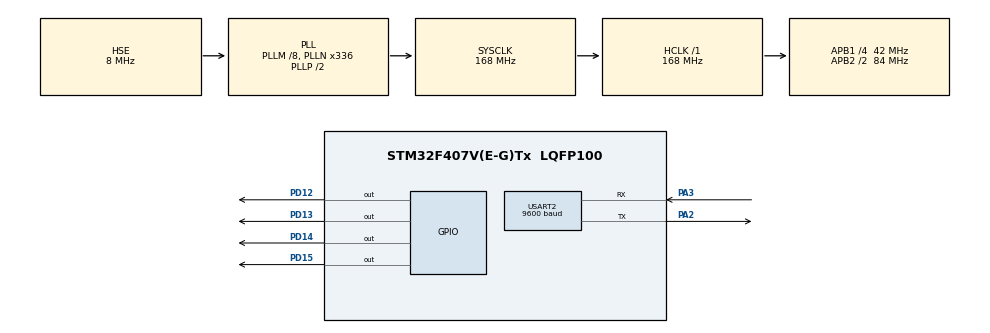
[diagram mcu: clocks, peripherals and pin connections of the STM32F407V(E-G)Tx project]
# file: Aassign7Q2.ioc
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Mcu.Family=STM32F4
Mcu.Name=STM32F407V(E-G)Tx
Mcu.Package=LQFP100
NVIC.PriorityGroup=NVIC_PRIORITYGROUP_0
PA2.Mode=Asynchronous
PA2.Signal=USART2_TX
PA3.Mode=Asynchronous
PA3.Signal=USART2_RX
PD12.Signal=GPIO_Output
PD13.Signal=GPIO_Output
PD14.Signal=GPIO_Output
PD15.Signal=GPIO_Output
ProjectManager.HeapSize=0x200
ProjectManager.StackSize=0x400
ProjectManager.TargetToolchain=STM32CubeIDE
RCC.48MHZClocksFreq_Value=48000000
RCC.AHBFreq_Value=168000000
RCC.APB1CLKDivider=RCC_HCLK_DIV4
RCC.APB1Freq_Value=42000000
RCC.APB1TimFreq_Value=84000000
RCC.APB2CLKDivider=RCC_HCLK_DIV2
RCC.APB2Freq_Value=84000000
RCC.APB2TimFreq_Value=168000000
RCC.CortexFreq_Value=168000000
RCC.HCLKFreq_Value=168000000
RCC.HSE_VALUE=8000000
RCC.HSI_VALUE=16000000
RCC.PLLM=8
RCC.PLLN=336
RCC.PLLQ=7
RCC.PLLSourceVirtual=RCC_PLLSOURCE_HSE
RCC.SYSCLKFreq_VALUE=168000000
RCC.SYSCLKSource=RCC_SYSCLKSOURCE_PLLCLK
RCC.VCOOutputFreq_Value=336000000
USART2.BaudRate=9600
USART2.VirtualMode=VM_ASYNC
board=STM32F407G-DISC1

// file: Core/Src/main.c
/* USER CODE BEGIN Header */
/**
  ******************************************************************************
  * @file           : main.c
  * @brief          : Main program body
  ******************************************************************************
  * @attention
  *
  * Copyright (c) 2025 STMicroelectronics.
  * All rights reserved.
  *
  * This software is licensed under terms that can be found in the LICENSE file
  * in the root directory of this software component.
  * If no LICENSE file comes with this software, it is provided AS-IS.
  *
  ******************************************************************************
  */
/* USER CODE END Header */
#include "main.h"
#include<string.h>
#define MAX_LEN 100
uint8_t rx_byte;             // single incoming byte
char rx_buffer[MAX_LEN];     // store full string
uint16_t rx_index = 0;       // current position
uint8_t on;

UART_HandleTypeDef huart2;

void SystemClock_Config(void);
static void MX_GPIO_Init(void);
static void MX_USART2_UART_Init(void);

int main(void)
{

  /* MCU Configuration--------------------------------------------------------*/

  /* Reset of all peripherals, Initializes the Flash interface and the Systick. */
  HAL_Init();

  /* Configure the system clock */
  SystemClock_Config();

  /* Initialize all configured peripherals */
  MX_GPIO_Init();
  MX_USART2_UART_Init();

  /* Infinite loop */
  while (1)
  {

    /* USER CODE BEGIN 3 */
	  HAL_UART_Receive(&huart2, &rx_byte, 1, HAL_MAX_DELAY);

	   HAL_UART_Transmit(&huart2, &rx_byte, 1, HAL_MAX_DELAY);

	        if (rx_byte == '\r')
	        {
	            rx_buffer[rx_index] = '\0';

	            char msg1[]="\n";
	            HAL_UART_Transmit(&huart2, (uint8_t*)msg1, strlen(msg1), HAL_MAX_DELAY);
	            {
	            if(strcmp(rx_buffer,"red_on")==0)
	            {
	          	  HAL_GPIO_TogglePin(GPIOD, GPIO_PIN_14);
	            }
	            else if(strcmp(rx_buffer,"orange_on")==0)
	            {
	          	  HAL_GPIO_TogglePin(GPIOD, GPIO_PIN_13);
	            }
	            else
	            {
	          	char msg2[]="INVALID COMMAND\n";
	              HAL_UART_Transmit(&huart2, (uint8_t*)msg2, strlen(msg2), HAL_MAX_DELAY);
	            }
	            }

	            strupr(rx_buffer);

	            rx_index = 0;
	        }
	        else
	        {

	            if (rx_index < MAX_LEN - 1)
	            {
	                rx_buffer[rx_index++] = rx_byte;
	            }
	        }
   }
  /* USER CODE END 3 */
}

void SystemClock_Config(void)
{
  RCC_OscInitTypeDef RCC_OscInitStruct = {0};
  RCC_ClkInitTypeDef RCC_ClkInitStruct = {0};

  /** Configure the main internal regulator output voltage
  */
  __HAL_RCC_PWR_CLK_ENABLE();
  __HAL_PWR_VOLTAGESCALING_CONFIG(PWR_REGULATOR_VOLTAGE_SCALE1);

  /** Initializes the RCC Oscillators according to the specified parameters
  * in the RCC_OscInitTypeDef structure.
  */
  RCC_OscInitStruct.OscillatorType = RCC_OSCILLATORTYPE_HSE;
  RCC_OscInitStruct.HSEState = RCC_HSE_OFF;
  RCC_OscInitStruct.PLL.PLLState = RCC_PLL_ON;
  RCC_OscInitStruct.PLL.PLLSource = RCC_PLLSOURCE_HSE;
  RCC_OscInitStruct.PLL.PLLM = 8;
  RCC_OscInitStruct.PLL.PLLN = 336;
  RCC_OscInitStruct.PLL.PLLP = RCC_PLLP_DIV2;
  RCC_OscInitStruct.PLL.PLLQ = 7;
  if (HAL_RCC_OscConfig(&RCC_OscInitStruct) != HAL_OK)
  {
    Error_Handler();
  }

  /** Initializes the CPU, AHB and APB buses clocks
  */
  RCC_ClkInitStruct.ClockType = RCC_CLOCKTYPE_HCLK|RCC_CLOCKTYPE_SYSCLK
                              |RCC_CLOCKTYPE_PCLK1|RCC_CLOCKTYPE_PCLK2;
  RCC_ClkInitStruct.SYSCLKSource = RCC_SYSCLKSOURCE_PLLCLK;
  RCC_ClkInitStruct.AHBCLKDivider = RCC_SYSCLK_DIV1;
  RCC_ClkInitStruct.APB1CLKDivider = RCC_HCLK_DIV4;
  RCC_ClkInitStruct.APB2CLKDivider = RCC_HCLK_DIV2;

  if (HAL_RCC_ClockConfig(&RCC_ClkInitStruct, FLASH_LATENCY_5) != HAL_OK)
  {
    Error_Handler();
  }
}

static void MX_USART2_UART_Init(void)
{

  huart2.Instance = USART2;
  huart2.Init.BaudRate = 9600;
  huart2.Init.WordLength = UART_WORDLENGTH_8B;
  huart2.Init.StopBits = UART_STOPBITS_1;
  huart2.Init.Parity = UART_PARITY_NONE;
  huart2.Init.Mode = UART_MODE_TX_RX;
  huart2.Init.HwFlowCtl = UART_HWCONTROL_NONE;
  huart2.Init.OverSampling = UART_OVERSAMPLING_16;
  if (HAL_UART_Init(&huart2) != HAL_OK)
  {
    Error_Handler();
  }

}

static void MX_GPIO_Init(void)
{

  /* GPIO Ports Clock Enable */
  __HAL_RCC_GPIOA_CLK_ENABLE();

}

void Error_Handler(void)
{
  __disable_irq();
  while (1)
  {
  }
}
